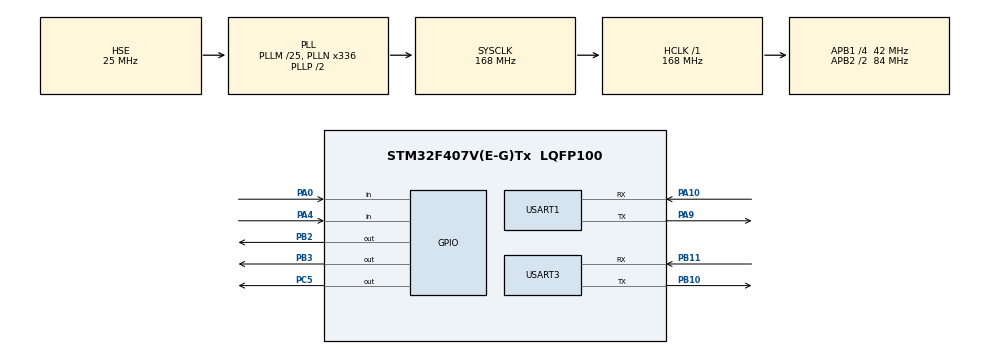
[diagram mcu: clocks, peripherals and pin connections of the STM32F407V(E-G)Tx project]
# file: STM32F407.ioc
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Dma.Request0=USART1_TX
Dma.Request1=USART3_RX
Dma.Request2=USART3_TX
Dma.USART1_TX.0.Direction=DMA_MEMORY_TO_PERIPH
Dma.USART1_TX.0.FIFOMode=DMA_FIFOMODE_DISABLE
Dma.USART1_TX.0.Instance=DMA2_Stream7
Dma.USART1_TX.0.MemDataAlignment=DMA_MDATAALIGN_BYTE
Dma.USART1_TX.0.MemInc=DMA_MINC_ENABLE
Dma.USART1_TX.0.Mode=DMA_NORMAL
Dma.USART1_TX.0.PeriphDataAlignment=DMA_PDATAALIGN_BYTE
Dma.USART1_TX.0.PeriphInc=DMA_PINC_DISABLE
Dma.USART1_TX.0.Priority=DMA_PRIORITY_LOW
Dma.USART3_RX.1.Direction=DMA_PERIPH_TO_MEMORY
Dma.USART3_RX.1.FIFOMode=DMA_FIFOMODE_DISABLE
Dma.USART3_RX.1.Instance=DMA1_Stream1
Dma.USART3_RX.1.MemDataAlignment=DMA_MDATAALIGN_BYTE
Dma.USART3_RX.1.MemInc=DMA_MINC_ENABLE
Dma.USART3_RX.1.Mode=DMA_CIRCULAR
Dma.USART3_RX.1.PeriphDataAlignment=DMA_PDATAALIGN_BYTE
Dma.USART3_RX.1.PeriphInc=DMA_PINC_DISABLE
Dma.USART3_RX.1.Priority=DMA_PRIORITY_LOW
Dma.USART3_TX.2.Direction=DMA_MEMORY_TO_PERIPH
Dma.USART3_TX.2.FIFOMode=DMA_FIFOMODE_DISABLE
Dma.USART3_TX.2.Instance=DMA1_Stream3
Dma.USART3_TX.2.MemDataAlignment=DMA_MDATAALIGN_BYTE
Dma.USART3_TX.2.MemInc=DMA_MINC_ENABLE
Dma.USART3_TX.2.Mode=DMA_NORMAL
Dma.USART3_TX.2.PeriphDataAlignment=DMA_PDATAALIGN_BYTE
Dma.USART3_TX.2.PeriphInc=DMA_PINC_DISABLE
Dma.USART3_TX.2.Priority=DMA_PRIORITY_LOW
FREERTOS.BinarySemaphores01=tx_space_sem,Dynamic,NULL,Available;esp_tx_space_sem,Dynamic,NULL,Available
FREERTOS.Mutexes01=tx_mutex,Dynamic,NULL,Depleted;esp_mutex,Dynamic,NULL,Available
FREERTOS.Tasks01=taskLED_RED,0,128,StartTaskLED_RED,Default,NULL,Dynamic,NULL,NULL;DHT11,0,128,DHT11_task,As weak,NULL,Dynamic,NULL,NULL;Weather,0,256,Weather_task,As weak,NULL,Dynamic,NULL,NULL;Time,0,256,Time_task,As weak,NULL,Dynamic,NULL,NULL;LVGL_UI,1,2048,LVGL_UI_task,As weak,NULL,Dynamic,NULL,NULL
FREERTOS.Timers01=myTimer01,Callback01,osTimerPeriodic,Default,NULL,Dynamic,NULL
FREERTOS.configUSE_COUNTING_SEMAPHORES=1
FREERTOS.configUSE_TIMERS=1
Mcu.Family=STM32F4
Mcu.Name=STM32F407V(E-G)Tx
Mcu.Package=LQFP100
NVIC.DMA1_Stream1_IRQn=true\:5\:0\:false\:false\:true\:true\:false\:true\:true
NVIC.DMA1_Stream3_IRQn=true\:5\:0\:false\:false\:true\:true\:false\:true\:true
NVIC.DMA2_Stream7_IRQn=true\:5\:0\:false\:false\:true\:true\:false\:true\:true
NVIC.PriorityGroup=NVIC_PRIORITYGROUP_4
NVIC.TIM4_IRQn=true\:5\:0\:true\:false\:true\:true\:true\:true\:true
NVIC.TIM6_DAC_IRQn=true\:15\:0\:false\:false\:true\:false\:false\:true\:true
NVIC.TimeBase=TIM6_DAC_IRQn
NVIC.TimeBaseIP=TIM6
NVIC.USART1_IRQn=true\:5\:0\:false\:false\:true\:true\:true\:true\:true
NVIC.USART3_IRQn=true\:5\:0\:false\:false\:true\:true\:true\:true\:true
PA0-WKUP.GPIO_PuPd=GPIO_PULLDOWN
PA0-WKUP.Signal=GPIO_Input
PA10.GPIO_PuPd=GPIO_PULLUP
PA10.Mode=Asynchronous
PA10.Signal=USART1_RX
PA13.Mode=Serial_Wire
PA13.Signal=SYS_JTMS-SWDIO
PA14.Mode=Serial_Wire
PA14.Signal=SYS_JTCK-SWCLK
PA4.GPIO_PuPd=GPIO_PULLUP
PA4.Signal=GPIO_Input
PA9.GPIO_PuPd=GPIO_PULLUP
PA9.Mode=Asynchronous
PA9.Signal=USART1_TX
PB10.GPIO_PuPd=GPIO_PULLUP
PB10.Mode=Asynchronous
PB10.Signal=USART3_TX
PB11.GPIO_PuPd=GPIO_PULLUP
PB11.Mode=Asynchronous
PB11.Signal=USART3_RX
PB2.Signal=GPIO_Output
PB3.GPIO_PuPd=GPIO_PULLUP
PB3.PinState=GPIO_PIN_RESET
PB3.Signal=GPIO_Output
PC5.Signal=GPIO_Output
PH0-OSC_IN.Mode=HSE-External-Oscillator
PH0-OSC_IN.Signal=RCC_OSC_IN
PH1-OSC_OUT.Mode=HSE-External-Oscillator
PH1-OSC_OUT.Signal=RCC_OSC_OUT
ProjectManager.HeapSize=0x1000
ProjectManager.StackSize=0x1000
ProjectManager.TargetToolchain=MDK-ARM V5.32
RCC.48MHZClocksFreq_Value=84000000
RCC.AHBFreq_Value=168000000
RCC.APB1CLKDivider=RCC_HCLK_DIV4
RCC.APB1Freq_Value=42000000
RCC.APB1TimFreq_Value=84000000
RCC.APB2CLKDivider=RCC_HCLK_DIV2
RCC.APB2Freq_Value=84000000
RCC.APB2TimFreq_Value=168000000
RCC.CortexFreq_Value=168000000
RCC.HCLKFreq_Value=168000000
RCC.HSE_VALUE=25000000
RCC.HSI_VALUE=16000000
RCC.LSE_VALUE=32768
RCC.PLLM=25
RCC.PLLN=336
RCC.PLLSourceVirtual=RCC_PLLSOURCE_HSE
RCC.SYSCLKFreq_VALUE=168000000
RCC.SYSCLKSource=RCC_SYSCLKSOURCE_PLLCLK
RCC.VCOOutputFreq_Value=336000000
RTC.Format=RTC_FORMAT_BIN
TIM4.AutoReloadPreload=TIM_AUTORELOAD_PRELOAD_ENABLE
TIM4.Period=1000-1
TIM4.Prescaler=84-1
USART1.VirtualMode=VM_ASYNC
USART3.VirtualMode=VM_ASYNC
VP_FREERTOS_VS_CMSIS_V1.Mode=CMSIS_V1
VP_RTC_VS_RTC_Activate.Mode=RTC_Enabled
VP_RTC_VS_RTC_Calendar.Mode=RTC_Calendar
VP_SYS_VS_tim6.Mode=TIM6
VP_TIM4_VS_ClockSourceINT.Mode=Internal
board=custom

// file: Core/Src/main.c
/* USER CODE BEGIN Header */
/**
  ******************************************************************************
  * @file           : main.c
  * @brief          : Main program body
  ******************************************************************************
  * @attention
  *
  * Copyright (c) 2023 STMicroelectronics.
  * All rights reserved.
  *
  * This software is licensed under terms that can be found in the LICENSE file
  * in the root directory of this software component.
  * If no LICENSE file comes with this software, it is provided AS-IS.
  *
  ******************************************************************************
  */
/* USER CODE END Header */
#include "main.h"
#include "cmsis_os.h"
#include "dma.h"
#include "rtc.h"
#include "tim.h"
#include "usart.h"
#include "gpio.h"

/* USER CODE BEGIN Includes */
#include "relay.h"
#include "uart1.h"
#include "stdio.h"
#include "bsp_W25Q128.h"
#include "bsp_LCD_ILI9341.h"
#include "bsp_XPT2046.h"

#include "lvgl.h"                // 它为整个LVGL提供了更完整的头文件引用
#include "lv_port_disp.h"        // LVGL的显示支持
#include "lv_port_indev.h"       // LVGL的触屏支持
/* USER CODE END Includes */

void SystemClock_Config(void);
void MX_FREERTOS_Init(void);

/* USER CODE BEGIN 0 */

//uint8_t *rxdata=NULL;

/* USER CODE END 0 */

int main(void)
{

  /* MCU Configuration--------------------------------------------------------*/

  /* Reset of all peripherals, Initializes the Flash interface and the Systick. */
  HAL_Init();

  /* Configure the system clock */
  SystemClock_Config();

  /* Initialize all configured peripherals */
  MX_GPIO_Init();
  MX_DMA_Init();
  MX_USART1_UART_Init();
  MX_USART3_UART_Init();
  MX_RTC_Init();
  MX_TIM4_Init();
  /* USER CODE BEGIN 2 */
   W25Q128_Init();                                                                     // 外部Flash 初始化，其内部存储有汉字字模数据
   LCD_Init();                                                                         // LCD ILI9341 初始化
   LCD_SetDir(1);                                                                      // 设置显示方向：0-竖屏、1-横屏
   XPT2046_Init(xLCD.width, xLCD.height, xLCD.dir);                                    // 触摸检测 初始化; 参数：屏宽、屏高、显示的方向

   lv_init();                             // LVGL 初始化
   lv_port_disp_init();                   // 注册LVGL的显示任务
   lv_port_indev_init();                  // 注册LVGL的触屏检测任务

   HAL_TIM_Base_Start_IT(&htim4);

//	// 按钮
//	lv_obj_t *myBtn = lv_btn_create(lv_scr_act());                               // 创建按钮; 父对象：当前活动屏幕
//	lv_obj_set_pos(myBtn, 10, 10);                                               // 设置坐标
//	lv_obj_set_size(myBtn, 120, 50);                                             // 设置大小

//	// 按钮上的文本
//	lv_obj_t *label_btn = lv_label_create(myBtn);                                // 创建文本标签，父对象：上面的btn按钮
//	lv_obj_align(label_btn, LV_ALIGN_CENTER, 0, 0);                              // 对齐于：父对象
//	lv_label_set_text(label_btn, "Test");                                        // 设置标签的文本

//	// 独立的标签
//	lv_obj_t *myLabel = lv_label_create(lv_scr_act());                           // 创建文本标签; 父对象：当前活动屏幕
//	lv_label_set_text(myLabel, "Hello world!");                                  // 设置标签的文本
//	lv_obj_align(myLabel, LV_ALIGN_CENTER, 0, 0);                                // 对齐于：父对象
//	lv_obj_align_to(myBtn, myLabel, LV_ALIGN_OUT_TOP_MID, 0, -20);               // 对齐于：某对象

  /* USER CODE END 2 */

  /* Call init function for freertos objects (in freertos.c) */
  MX_FREERTOS_Init();

  /* Start scheduler */
  osKernelStart();

  /* We should never get here as control is now taken by the scheduler */
  /* Infinite loop */
    while (1)
    {

    }
}

void SystemClock_Config(void)
{
  RCC_OscInitTypeDef RCC_OscInitStruct = {0};
  RCC_ClkInitTypeDef RCC_ClkInitStruct = {0};

  /** Configure the main internal regulator output voltage
  */
  __HAL_RCC_PWR_CLK_ENABLE();
  __HAL_PWR_VOLTAGESCALING_CONFIG(PWR_REGULATOR_VOLTAGE_SCALE1);

  /** Initializes the RCC Oscillators according to the specified parameters
  * in the RCC_OscInitTypeDef structure.
  */
  RCC_OscInitStruct.OscillatorType = RCC_OSCILLATORTYPE_LSI|RCC_OSCILLATORTYPE_HSE;
  RCC_OscInitStruct.HSEState = RCC_HSE_ON;
  RCC_OscInitStruct.LSIState = RCC_LSI_ON;
  RCC_OscInitStruct.PLL.PLLState = RCC_PLL_ON;
  RCC_OscInitStruct.PLL.PLLSource = RCC_PLLSOURCE_HSE;
  RCC_OscInitStruct.PLL.PLLM = 25;
  RCC_OscInitStruct.PLL.PLLN = 336;
  RCC_OscInitStruct.PLL.PLLP = RCC_PLLP_DIV2;
  RCC_OscInitStruct.PLL.PLLQ = 4;
  if (HAL_RCC_OscConfig(&RCC_OscInitStruct) != HAL_OK)
  {
    Error_Handler();
  }

  /** Initializes the CPU, AHB and APB buses clocks
  */
  RCC_ClkInitStruct.ClockType = RCC_CLOCKTYPE_HCLK|RCC_CLOCKTYPE_SYSCLK
                              |RCC_CLOCKTYPE_PCLK1|RCC_CLOCKTYPE_PCLK2;
  RCC_ClkInitStruct.SYSCLKSource = RCC_SYSCLKSOURCE_PLLCLK;
  RCC_ClkInitStruct.AHBCLKDivider = RCC_SYSCLK_DIV1;
  RCC_ClkInitStruct.APB1CLKDivider = RCC_HCLK_DIV4;
  RCC_ClkInitStruct.APB2CLKDivider = RCC_HCLK_DIV2;

  if (HAL_RCC_ClockConfig(&RCC_ClkInitStruct, FLASH_LATENCY_5) != HAL_OK)
  {
    Error_Handler();
  }
}

void HAL_TIM_PeriodElapsedCallback(TIM_HandleTypeDef *htim)
{
  if (htim->Instance == TIM6) {
    HAL_IncTick();
  }
  /* USER CODE BEGIN Callback 1 */
	if(htim->Instance == TIM4)
	{
		lv_tick_inc(1);
	}
  /* USER CODE END Callback 1 */
}

void Error_Handler(void)
{
    __disable_irq();
    while (1)
    {
    }
}

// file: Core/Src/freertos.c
/* USER CODE BEGIN Header */
/**
  ******************************************************************************
  * File Name          : freertos.c
  * Description        : Code for freertos applications
  ******************************************************************************
  * @attention
  *
  * Copyright (c) 2025 STMicroelectronics.
  * All rights reserved.
  *
  * This software is licensed under terms that can be found in the LICENSE file
  * in the root directory of this software component.
  * If no LICENSE file comes with this software, it is provided AS-IS.
  *
  ******************************************************************************
  */
/* USER CODE END Header */

#include "FreeRTOS.h"
#include "task.h"
#include "main.h"
#include "cmsis_os.h"

/* USER CODE BEGIN Includes */
#include "stdio.h"
#include "semphr.h"
#include "stream_buffer.h"
#include "DHT11_task.h"
#include "uart3.h"
#include "weather_Time_task.h"
#include "esp8266.h"
/* USER CODE END Includes */

/* USER CODE BEGIN Variables */
//手动定义事件标志组

//EventGroupHandle_t eventgroup_handle;

/* USER CODE END Variables */
osThreadId taskLED_REDHandle;
osThreadId DHT11Handle;
osThreadId WeatherHandle;
osThreadId TimeHandle;
osThreadId LVGL_UIHandle;
osTimerId myTimer01Handle;
osMutexId tx_mutexHandle;
osMutexId esp_mutexHandle;
osSemaphoreId tx_space_semHandle;
osSemaphoreId esp_tx_space_semHandle;

void StartTaskLED_RED(void const * argument);
void DHT11_task(void const * argument);
void Weather_task(void const * argument);
void Time_task(void const * argument);
void LVGL_UI_task(void const * argument);
void Callback01(void const * argument);

void MX_FREERTOS_Init(void); /* (MISRA C 2004 rule 8.1) */

/* GetIdleTaskMemory prototype (linked to static allocation support) */
void vApplicationGetIdleTaskMemory( StaticTask_t **ppxIdleTaskTCBBuffer, StackType_t **ppxIdleTaskStackBuffer, uint32_t *pulIdleTaskStackSize );

/* GetTimerTaskMemory prototype (linked to static allocation support) */
void vApplicationGetTimerTaskMemory( StaticTask_t **ppxTimerTaskTCBBuffer, StackType_t **ppxTimerTaskStackBuffer, uint32_t *pulTimerTaskStackSize );

/* USER CODE BEGIN GET_IDLE_TASK_MEMORY */
static StaticTask_t xIdleTaskTCBBuffer;
static StackType_t xIdleStack[configMINIMAL_STACK_SIZE];

void vApplicationGetIdleTaskMemory( StaticTask_t **ppxIdleTaskTCBBuffer, StackType_t **ppxIdleTaskStackBuffer, uint32_t *pulIdleTaskStackSize )
{
  *ppxIdleTaskTCBBuffer = &xIdleTaskTCBBuffer;
  *ppxIdleTaskStackBuffer = &xIdleStack[0];
  *pulIdleTaskStackSize = configMINIMAL_STACK_SIZE;
  /* place for user code */
}
/* USER CODE END GET_IDLE_TASK_MEMORY */

/* USER CODE BEGIN GET_TIMER_TASK_MEMORY */
static StaticTask_t xTimerTaskTCBBuffer;
static StackType_t xTimerStack[configTIMER_TASK_STACK_DEPTH];

void vApplicationGetTimerTaskMemory( StaticTask_t **ppxTimerTaskTCBBuffer, StackType_t **ppxTimerTaskStackBuffer, uint32_t *pulTimerTaskStackSize )
{
  *ppxTimerTaskTCBBuffer = &xTimerTaskTCBBuffer;
  *ppxTimerTaskStackBuffer = &xTimerStack[0];
  *pulTimerTaskStackSize = configTIMER_TASK_STACK_DEPTH;
  /* place for user code */
}
/* USER CODE END GET_TIMER_TASK_MEMORY */

void MX_FREERTOS_Init(void) {
  /* Create the mutex(es) */
  /* definition and creation of tx_mutex */
  osMutexDef(tx_mutex);
  tx_mutexHandle = osMutexCreate(osMutex(tx_mutex));

  /* definition and creation of esp_mutex */
  osMutexDef(esp_mutex);
  esp_mutexHandle = osMutexCreate(osMutex(esp_mutex));

  /* Create the semaphores(s) */
  /* definition and creation of tx_space_sem */
  osSemaphoreDef(tx_space_sem);
  tx_space_semHandle = osSemaphoreCreate(osSemaphore(tx_space_sem), 1);

  /* definition and creation of esp_tx_space_sem */
  osSemaphoreDef(esp_tx_space_sem);
  esp_tx_space_semHandle = osSemaphoreCreate(osSemaphore(esp_tx_space_sem), 1);

  /* Create the timer(s) */
  /* definition and creation of myTimer01 */
  osTimerDef(myTimer01, Callback01);
  myTimer01Handle = osTimerCreate(osTimer(myTimer01), osTimerPeriodic, NULL);

  /* Create the thread(s) */
  /* definition and creation of taskLED_RED */
  osThreadDef(taskLED_RED, StartTaskLED_RED, osPriorityNormal, 0, 128);
  taskLED_REDHandle = osThreadCreate(osThread(taskLED_RED), NULL);

  /* definition and creation of DHT11 */
  osThreadDef(DHT11, DHT11_task, osPriorityNormal, 0, 128);
  DHT11Handle = osThreadCreate(osThread(DHT11), NULL);

  /* definition and creation of Weather */
  osThreadDef(Weather, Weather_task, osPriorityNormal, 0, 256);
  WeatherHandle = osThreadCreate(osThread(Weather), NULL);

  /* definition and creation of Time */
  osThreadDef(Time, Time_task, osPriorityNormal, 0, 256);
  TimeHandle = osThreadCreate(osThread(Time), NULL);

  /* definition and creation of LVGL_UI */
  osThreadDef(LVGL_UI, LVGL_UI_task, osPriorityAboveNormal, 0, 2048);
  LVGL_UIHandle = osThreadCreate(osThread(LVGL_UI), NULL);

  /* USER CODE BEGIN RTOS_THREADS */
  /* add threads, ... */
  //手动创建事件标志组

//  eventgroup_handle=xEventGroupCreate();
  uart3_rtos_init();   //注意调用！！！，否则会卡死程序

  /* USER CODE END RTOS_THREADS */

}

void StartTaskLED_RED(void const * argument)
{
  /* USER CODE BEGIN StartTaskLED_RED */
  /* Infinite loop */
  for(;;)
  {
//	  HAL_GPIO_TogglePin(GPIOC, GPIO_PIN_5);
//	  printf("红色LED闪烁\r\n");
      osDelay(1);
  }
  /* USER CODE END StartTaskLED_RED */
}

__weak void DHT11_task(void const * argument)
{
  for(;;)
  {
    osDelay(1);
  }
}

__weak void Weather_task(void const * argument)
{
  for(;;)
  {
    osDelay(1);
  }
}

__weak void Time_task(void const * argument)
{
  for(;;)
  {
    osDelay(1);
  }
}

__weak void LVGL_UI_task(void const * argument)
{
  for(;;)
  {
    osDelay(1);
  }
}

/* Callback01 function */
void Callback01(void const * argument)
{
  /* USER CODE BEGIN Callback01 */
  time_enter();
  /* USER CODE END Callback01 */
}
